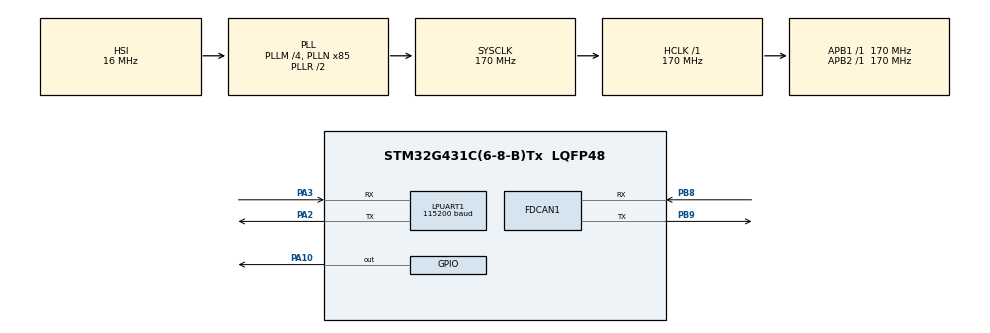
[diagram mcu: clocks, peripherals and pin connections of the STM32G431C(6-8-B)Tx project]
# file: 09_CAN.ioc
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FDCAN1.AutoRetransmission=ENABLE
FDCAN1.CalculateBaudRateNominal=492753
FDCAN1.CalculateTimeBitNominal=2029
FDCAN1.CalculateTimeQuantumNominal=135.29411764705884
FDCAN1.DataPrescaler=23
FDCAN1.DataTimeSeg1=12
FDCAN1.DataTimeSeg2=2
FDCAN1.ExtFiltersNbr=8
FDCAN1.NominalPrescaler=23
FDCAN1.NominalTimeSeg1=12
FDCAN1.NominalTimeSeg2=2
FDCAN1.ProtocolException=ENABLE
FDCAN1.StdFiltersNbr=28
FDCAN1.TransmitPause=ENABLE
LPUART1.BaudRate=115200
Mcu.Family=STM32G4
Mcu.Name=STM32G431C(6-8-B)Tx
Mcu.Package=LQFP48
NVIC.FDCAN1_IT0_IRQn=true\:0\:0\:false\:false\:true\:true\:true\:true
NVIC.PriorityGroup=NVIC_PRIORITYGROUP_4
PA10.Signal=GPIO_Output
PA13.Mode=Serial_Wire
PA13.Signal=SYS_JTMS-SWDIO
PA14.Mode=Serial_Wire
PA14.Signal=SYS_JTCK-SWCLK
PA2.Mode=Asynchronous
PA2.Signal=LPUART1_TX
PA3.GPIO_PuPd=GPIO_PULLUP
PA3.Mode=Asynchronous
PA3.Signal=LPUART1_RX
PB8-BOOT0.Mode=FDCAN_Activate
PB8-BOOT0.Signal=FDCAN1_RX
PB9.Mode=FDCAN_Activate
PB9.Signal=FDCAN1_TX
PF0-OSC_IN.Mode=HSE-External-Oscillator
PF0-OSC_IN.Signal=RCC_OSC_IN
PF1-OSC_OUT.Mode=HSE-External-Oscillator
PF1-OSC_OUT.Signal=RCC_OSC_OUT
ProjectManager.HeapSize=0x200
ProjectManager.StackSize=0x400
ProjectManager.TargetToolchain=STM32CubeIDE
RCC.ADC12Freq_Value=170000000
RCC.AHBFreq_Value=170000000
RCC.APB1Freq_Value=170000000
RCC.APB1TimFreq_Value=170000000
RCC.APB2Freq_Value=170000000
RCC.APB2TimFreq_Value=170000000
RCC.CortexFreq_Value=170000000
RCC.EXTERNAL_CLOCK_VALUE=12288000
RCC.HCLKFreq_Value=170000000
RCC.HSE_VALUE=8000000
RCC.HSI48_VALUE=48000000
RCC.HSI_VALUE=16000000
RCC.LSE_VALUE=32768
RCC.PLLM=RCC_PLLM_DIV4
RCC.PLLN=85
RCC.SYSCLKFreq_VALUE=170000000
RCC.SYSCLKSource=RCC_SYSCLKSOURCE_PLLCLK
RCC.USBFreq_Value=170000000
RCC.VCOOutputFreq_Value=340000000
VP_SYS_VS_DBSignals.Mode=DisableDeadBatterySignals
board=custom

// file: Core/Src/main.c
/* USER CODE BEGIN Header */
/**
  ******************************************************************************
  * @file           : main.c
  * @brief          : Main program body
  ******************************************************************************
  * @attention
  *
  * Copyright (c) 2024 STMicroelectronics.
  * All rights reserved.
  *
  * This software is licensed under terms that can be found in the LICENSE file
  * in the root directory of this software component.
  * If no LICENSE file comes with this software, it is provided AS-IS.
  *
  ******************************************************************************
  */
/* USER CODE END Header */
#include "main.h"

/* USER CODE BEGIN Includes */

// reference link
// http://www.bittiming.can-wiki.info/
#include <stdio.h>

/* USER CODE END Includes */

FDCAN_HandleTypeDef hfdcan1;

UART_HandleTypeDef hlpuart1;

void SystemClock_Config(void);
static void MX_GPIO_Init(void);
static void MX_LPUART1_UART_Init(void);
static void MX_FDCAN1_Init(void);

/* USER CODE BEGIN 0 */
int __io_putchar(int ch)
{
  if(HAL_UART_Transmit(&hlpuart1, (uint8_t *)&ch, 1, 10) != HAL_OK)
  {
    return -1;
  }
  return ch;
}

void HAL_FDCAN_RxFifo0Callback(FDCAN_HandleTypeDef *hfdcan, uint32_t RxFifo0ITs)
{
  /*
   * RxFifo0ITs
   * FDCAN_IR_RF0L = Rx FIFO 0 Message Lost
   * FDCAN_IR_RF0F = Rx FIFO 0 Full
   * FDCAN_IR_RF0N = Rx FIFO 0 New Message
   */
  FDCAN_RxHeaderTypeDef rxHeader;
  uint8_t rxData[8];
  if((RxFifo0ITs & FDCAN_IT_RX_FIFO0_NEW_MESSAGE) != RESET)
  {

    if (HAL_FDCAN_GetRxMessage(hfdcan, FDCAN_RX_FIFO0, &rxHeader, rxData) != HAL_OK)
    {
    /* Reception Error */
    Error_Handler();
    }
    printf("id: %04lx, IdType: %d, len: %ld\r\n", rxHeader.Identifier, rxHeader.IdType==FDCAN_STANDARD_ID, rxHeader.DataLength);
    printf("Data: ");
    for(uint8_t i=0; i<rxHeader.DataLength; i++)
    {
      printf("%02X ", rxData[i]);
    }
    printf("\r\n");
  }

  if((RxFifo0ITs & FDCAN_IT_RX_FIFO0_FULL) != RESET)
  {
  }

  if((RxFifo0ITs & FDCAN_IT_RX_FIFO0_MESSAGE_LOST) != RESET)
  {
  }
}

void HAL_FDCAN_ErrorCallback(FDCAN_HandleTypeDef *hfdcan)
{
  printf("%s\r\n", __FUNCTION__);
  FDCAN_ProtocolStatusTypeDef protocol_status;

  HAL_FDCAN_GetProtocolStatus(hfdcan, &protocol_status);

  if (protocol_status.ErrorPassive)
  {
  }
  else
  {
  }

  if (protocol_status.Warning)
  {
  }
  else
  {
  }

  if (protocol_status.BusOff)
  {
  }
  else
  {
  }
  printf("err:%ld, warr: %ld, off: %ld\r\n", protocol_status.ErrorPassive, protocol_status.Warning, protocol_status.BusOff);
}
/* USER CODE END 0 */

int main(void)
{

  /* MCU Configuration--------------------------------------------------------*/

  /* Reset of all peripherals, Initializes the Flash interface and the Systick. */
  HAL_Init();

  /* Configure the system clock */
  SystemClock_Config();

  /* Initialize all configured peripherals */
  MX_GPIO_Init();
  MX_LPUART1_UART_Init();
  MX_FDCAN1_Init();
  /* USER CODE BEGIN 2 */
  HAL_GPIO_WritePin(GPIOA, GPIO_PIN_10, GPIO_PIN_RESET);

	if(HAL_FDCAN_Start(&hfdcan1) != HAL_OK)
	{
	  printf("fdcan start fail\r\n");
	}
	printf("hello FDCAN\r\n");

	FDCAN_TxHeaderTypeDef TxHeader;

	uint8_t TxData[] = {0, 0x32, 0x54, 0x76, 0x98, 0x00, 0x11, 0x22};
	TxHeader.Identifier = 0x111;
	TxHeader.IdType = FDCAN_STANDARD_ID;
	TxHeader.TxFrameType = FDCAN_DATA_FRAME;
	TxHeader.DataLength = FDCAN_DLC_BYTES_8;
	TxHeader.ErrorStateIndicator = FDCAN_ESI_ACTIVE;
	TxHeader.BitRateSwitch = FDCAN_BRS_ON;
	TxHeader.FDFormat = FDCAN_CLASSIC_CAN;
	TxHeader.TxEventFifoControl = FDCAN_NO_TX_EVENTS;
	TxHeader.MessageMarker = 0;
  /* USER CODE END 2 */

  /* Infinite loop */
  /* USER CODE BEGIN WHILE */
  while (1)
  {
	  if (HAL_FDCAN_AddMessageToTxFifoQ(&hfdcan1, &TxHeader, TxData) != HAL_OK)
	  {
		Error_Handler();
	  }
	  TxData[0] += 1;

	  HAL_Delay(1000);
    /* USER CODE END WHILE */

  }
}

void SystemClock_Config(void)
{
  RCC_OscInitTypeDef RCC_OscInitStruct = {0};
  RCC_ClkInitTypeDef RCC_ClkInitStruct = {0};

  /** Configure the main internal regulator output voltage
  */
  HAL_PWREx_ControlVoltageScaling(PWR_REGULATOR_VOLTAGE_SCALE1_BOOST);

  /** Initializes the RCC Oscillators according to the specified parameters
  * in the RCC_OscInitTypeDef structure.
  */
  RCC_OscInitStruct.OscillatorType = RCC_OSCILLATORTYPE_HSI;
  RCC_OscInitStruct.HSIState = RCC_HSI_ON;
  RCC_OscInitStruct.HSICalibrationValue = RCC_HSICALIBRATION_DEFAULT;
  RCC_OscInitStruct.PLL.PLLState = RCC_PLL_ON;
  RCC_OscInitStruct.PLL.PLLSource = RCC_PLLSOURCE_HSI;
  RCC_OscInitStruct.PLL.PLLM = RCC_PLLM_DIV4;
  RCC_OscInitStruct.PLL.PLLN = 85;
  RCC_OscInitStruct.PLL.PLLP = RCC_PLLP_DIV2;
  RCC_OscInitStruct.PLL.PLLQ = RCC_PLLQ_DIV2;
  RCC_OscInitStruct.PLL.PLLR = RCC_PLLR_DIV2;
  if (HAL_RCC_OscConfig(&RCC_OscInitStruct) != HAL_OK)
  {
    Error_Handler();
  }

  /** Initializes the CPU, AHB and APB buses clocks
  */
  RCC_ClkInitStruct.ClockType = RCC_CLOCKTYPE_HCLK|RCC_CLOCKTYPE_SYSCLK
                              |RCC_CLOCKTYPE_PCLK1|RCC_CLOCKTYPE_PCLK2;
  RCC_ClkInitStruct.SYSCLKSource = RCC_SYSCLKSOURCE_PLLCLK;
  RCC_ClkInitStruct.AHBCLKDivider = RCC_SYSCLK_DIV1;
  RCC_ClkInitStruct.APB1CLKDivider = RCC_HCLK_DIV1;
  RCC_ClkInitStruct.APB2CLKDivider = RCC_HCLK_DIV1;

  if (HAL_RCC_ClockConfig(&RCC_ClkInitStruct, FLASH_LATENCY_4) != HAL_OK)
  {
    Error_Handler();
  }
}

static void MX_FDCAN1_Init(void)
{

  hfdcan1.Instance = FDCAN1;
  hfdcan1.Init.ClockDivider = FDCAN_CLOCK_DIV1;
  hfdcan1.Init.FrameFormat = FDCAN_FRAME_CLASSIC;
  hfdcan1.Init.Mode = FDCAN_MODE_NORMAL;
  hfdcan1.Init.AutoRetransmission = ENABLE;
  hfdcan1.Init.TransmitPause = ENABLE;
  hfdcan1.Init.ProtocolException = ENABLE;
  hfdcan1.Init.NominalPrescaler = 23;
  hfdcan1.Init.NominalSyncJumpWidth = 1;
  hfdcan1.Init.NominalTimeSeg1 = 12;
  hfdcan1.Init.NominalTimeSeg2 = 2;
  hfdcan1.Init.DataPrescaler = 23;
  hfdcan1.Init.DataSyncJumpWidth = 1;
  hfdcan1.Init.DataTimeSeg1 = 12;
  hfdcan1.Init.DataTimeSeg2 = 2;
  hfdcan1.Init.StdFiltersNbr = 28;
  hfdcan1.Init.ExtFiltersNbr = 8;
  hfdcan1.Init.TxFifoQueueMode = FDCAN_TX_FIFO_OPERATION;
  if (HAL_FDCAN_Init(&hfdcan1) != HAL_OK)
  {
    Error_Handler();
  }
  /* USER CODE BEGIN FDCAN1_Init 2 */
  FDCAN_FilterTypeDef sFilterConfig;

  /* Configure standard ID reception filter to Rx buffer 0 */
  sFilterConfig.IdType = FDCAN_STANDARD_ID;
  sFilterConfig.FilterIndex = 0;
  sFilterConfig.FilterType = FDCAN_FILTER_MASK; //can classic filter
  sFilterConfig.FilterConfig = FDCAN_FILTER_TO_RXFIFO0;
  sFilterConfig.FilterID1 = 0;
  sFilterConfig.FilterID2 = 0;

	if(HAL_FDCAN_ConfigFilter(&hfdcan1, &sFilterConfig) != HAL_OK)
	{
		Error_Handler();
	}
#if 0
  /* Configure extended ID reception filter to Rx FIFO 1 */
  sFilterConfig.IdType = FDCAN_EXTENDED_ID;
  sFilterConfig.FilterIndex = 0;
  sFilterConfig.FilterType = FDCAN_FILTER_RANGE_NO_EIDM;
  sFilterConfig.FilterConfig = FDCAN_FILTER_TO_RXFIFO1;
  sFilterConfig.FilterID1 = 0x1111111;
  sFilterConfig.FilterID2 = 0x2222222;
  HAL_FDCAN_ConfigFilter(&hfdcan1, &sFilterConfig);
#endif

  if (HAL_FDCAN_ConfigGlobalFilter(&hfdcan1, FDCAN_REJECT, FDCAN_REJECT, FDCAN_FILTER_REMOTE, FDCAN_FILTER_REMOTE) != HAL_OK)
  {
	Error_Handler();
  }

  if (HAL_FDCAN_ActivateNotification(&hfdcan1,(FDCAN_IT_LIST_RX_FIFO0 | FDCAN_IT_LIST_PROTOCOL_ERROR |FDCAN_IT_LIST_BIT_LINE_ERROR), 0) != HAL_OK)
  //if (HAL_FDCAN_ActivateNotification(&hfdcan1,(FDCAN_IT_RX_FIFO0_NEW_MESSAGE), 0) != HAL_OK)
  {
	Error_Handler();
  }

  if (HAL_FDCAN_ConfigTxDelayCompensation(&hfdcan1, hfdcan1.Init.DataPrescaler*hfdcan1.Init.DataTimeSeg1, 0) != HAL_OK) Error_Handler();
  if (HAL_FDCAN_EnableTxDelayCompensation(&hfdcan1) != HAL_OK)                Error_Handler();

  /* USER CODE END FDCAN1_Init 2 */

}

static void MX_LPUART1_UART_Init(void)
{

  hlpuart1.Instance = LPUART1;
  hlpuart1.Init.BaudRate = 115200;
  hlpuart1.Init.WordLength = UART_WORDLENGTH_8B;
  hlpuart1.Init.StopBits = UART_STOPBITS_1;
  hlpuart1.Init.Parity = UART_PARITY_NONE;
  hlpuart1.Init.Mode = UART_MODE_TX_RX;
  hlpuart1.Init.HwFlowCtl = UART_HWCONTROL_NONE;
  hlpuart1.Init.OneBitSampling = UART_ONE_BIT_SAMPLE_DISABLE;
  hlpuart1.Init.ClockPrescaler = UART_PRESCALER_DIV1;
  hlpuart1.AdvancedInit.AdvFeatureInit = UART_ADVFEATURE_NO_INIT;
  if (HAL_UART_Init(&hlpuart1) != HAL_OK)
  {
    Error_Handler();
  }
  if (HAL_UARTEx_SetTxFifoThreshold(&hlpuart1, UART_TXFIFO_THRESHOLD_1_8) != HAL_OK)
  {
    Error_Handler();
  }
  if (HAL_UARTEx_SetRxFifoThreshold(&hlpuart1, UART_RXFIFO_THRESHOLD_1_8) != HAL_OK)
  {
    Error_Handler();
  }
  if (HAL_UARTEx_DisableFifoMode(&hlpuart1) != HAL_OK)
  {
    Error_Handler();
  }

}

static void MX_GPIO_Init(void)
{
  GPIO_InitTypeDef GPIO_InitStruct = {0};

  /* GPIO Ports Clock Enable */
  __HAL_RCC_GPIOF_CLK_ENABLE();
  __HAL_RCC_GPIOA_CLK_ENABLE();
  __HAL_RCC_GPIOB_CLK_ENABLE();

  /*Configure GPIO pin Output Level */
  HAL_GPIO_WritePin(GPIOA, GPIO_PIN_10, GPIO_PIN_RESET);

  /*Configure GPIO pin : PA10 */
  GPIO_InitStruct.Pin = GPIO_PIN_10;
  GPIO_InitStruct.Mode = GPIO_MODE_OUTPUT_PP;
  GPIO_InitStruct.Pull = GPIO_NOPULL;
  GPIO_InitStruct.Speed = GPIO_SPEED_FREQ_LOW;
  HAL_GPIO_Init(GPIOA, &GPIO_InitStruct);

}

void Error_Handler(void)
{
  __disable_irq();
  while (1)
  {
  }
}
